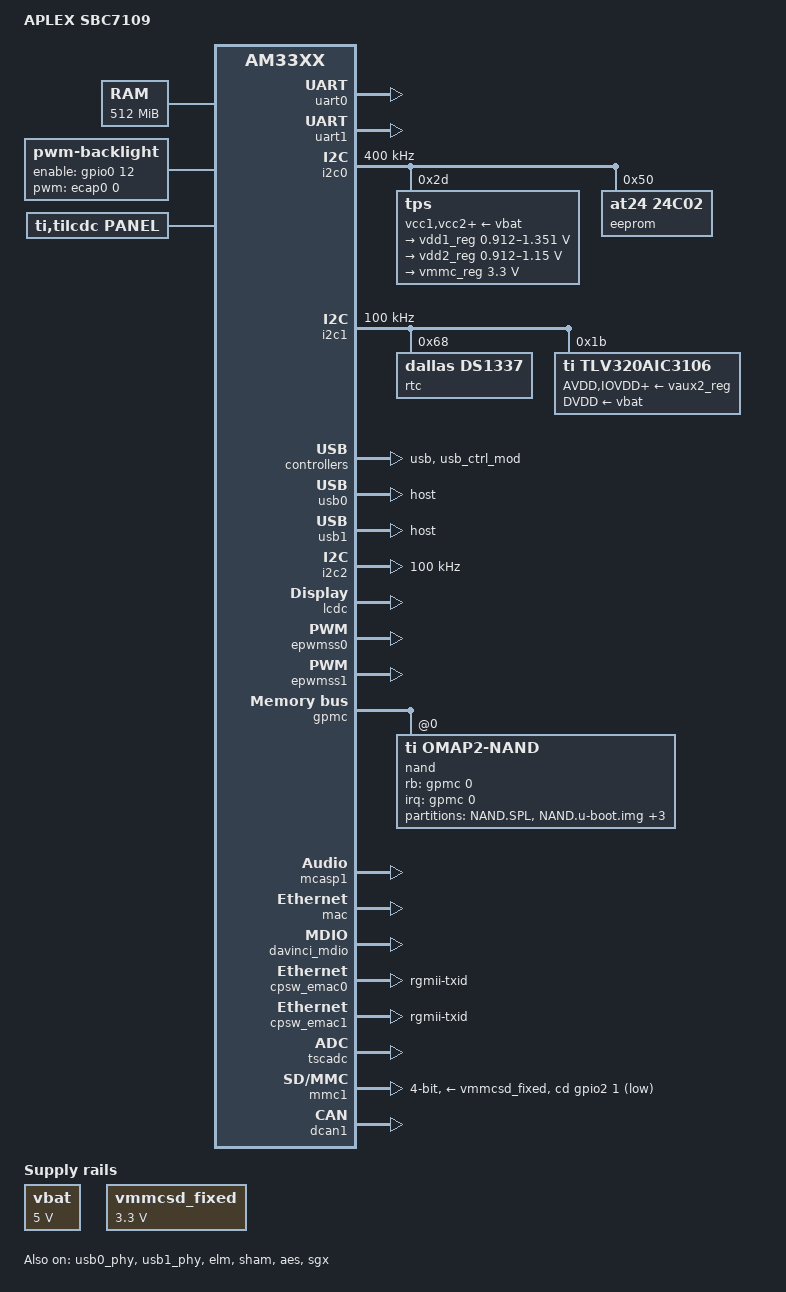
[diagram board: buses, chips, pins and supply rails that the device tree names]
/*
 * Copyright (C) 2012 Texas Instruments Incorporated - http://www.ti.com/
 * yocto
 * This program is free software; you can redistribute it and/or modify
 * it under the terms of the GNU General Public License version 2 as
 * published by the Free Software Foundation.
 */
/dts-v1/;

#include "am33xx.dtsi"
#include <dt-bindings/interrupt-controller/irq.h>

/ {
	model = "APLEX SBC7109";
	compatible = "ti,am335x-sbc_7109_455", "ti,am33xx";
	
	chosen {
		linux,stdout-path = &uart1;
	};

	cpus {
		cpu@0 {
			cpu0-supply = <&vdd1_reg>;
		};
	};

	memory {
		device_type = "memory";
		reg = <0x80000000 0x20000000>; /* 512 MB */
		//reg = <0x40000000 0x20000000>; /* 256 MB */
		//reg = <0x80000000 0x10000000>; /* 256 MB */
	};

	vbat: fixedregulator@0 {
		compatible = "regulator-fixed";
		regulator-name = "vbat";
		regulator-min-microvolt = <5000000>;
		regulator-max-microvolt = <5000000>;
		regulator-boot-on;
	};

	backlight {
		compatible = "pwm-backlight";
		pwms = <&ecap0 0 50000 0>;
		//brightness-levels = <0 51 53 56 62 75 101 152 255>;//leelin
		brightness-levels = <0 32 64 96 128 160 192 224 255>;
		default-brightness-level = <8>;
		enable-gpios=<&gpio0 12 GPIO_ACTIVE_HIGH>;//leelin
	};

	panel {
		compatible = "ti,tilcdc,panel";
		status = "okay";
		pinctrl-names = "default";
		pinctrl-0 = <&lcd_pins_s0>;
		panel-info {
			ac-bias           = <255>;
			ac-bias-intrpt    = <0>;
			dma-burst-sz      = <16>;
			bpp               = <16>;
			fdd               = <0x80>;
			sync-edge         = <0>;
			sync-ctrl         = <1>;
			raster-order      = <0>;
			fifo-th           = <0>;
            invert-pxl-clk    = <1>;
		};

		display-timings {
			native-mode = <&timing0>;
			timing0: 800x480 {
				clock-frequency = <33260000>;
				hactive = <800>;
				vactive = <480>;
				hfront-porch = <39>;
				hback-porch = <39>;
				hsync-len = <47>;
				vback-porch = <29>;
				vfront-porch = <13>;
				vsync-len = <2>;
				hsync-active = <1>;
				vsync-active = <1>;
			};
		};
	};

	sound {
		compatible = "simple-audio-card";
		simple-audio-card,name = "SBC7109";
		simple-audio-card,widgets =
			"Headphone", "Headphone Jack",
			"Line", "Line In",
			"Microphone", "Microphone Jack";
		simple-audio-card,routing =
			"Headphone Jack",	"HPLOUT",
			"Headphone Jack",	"HPROUT",
			"LINE1L",		"Line In",
			"LINE1R",		"Line In",
			"LINE2L",		"Microphone Jack";
		simple-audio-card,format = "dsp_b";
		simple-audio-card,bitclock-master = <&sound_master>;
		simple-audio-card,frame-master = <&sound_master>;
		simple-audio-card,bitclock-inversion;

		simple-audio-card,cpu {
			sound-dai = <&mcasp1>;
		};

		sound_master: simple-audio-card,codec {
			sound-dai = <&tlv320aic3106>;
			system-clock-frequency = <12000000>;
		};
	};
	vmmcsd_fixed: fixedregulator@0 {
		compatible = "regulator-fixed";
		regulator-name = "vmmcsd_fixed";
		regulator-min-microvolt = <3300000>;
		regulator-max-microvolt = <3300000>;
	};
};

&am33xx_pinmux {
	i2c0_pins: pinmux_i2c0_pins {
		pinctrl-single,pins = <
			0x188 (PIN_INPUT_PULLUP | MUX_MODE0)	/* i2c0_sda.i2c0_sda */
			0x18c (PIN_INPUT_PULLUP | MUX_MODE0)	/* i2c0_scl.i2c0_scl */
		>;
	};

	i2c1_pins: pinmux_i2c1_pins {
		pinctrl-single,pins = <
			0x158 (PIN_INPUT_PULLUP | MUX_MODE2)	/* spi0_d1.i2c1_sda */
			0x15c (PIN_INPUT_PULLUP | MUX_MODE2)	/* spi0_cs0.i2c1_scl */
		>;
	};

	i2c2_pins: pinmux_i2c2_pins {
		pinctrl-single,pins = <
			0x150 (PIN_INPUT_PULLUP | MUX_MODE2)	/* spi0_sclk.gpio0_2 */
			0x154 (PIN_INPUT_PULLUP | MUX_MODE2)	/* spi0_d0.gpio0_3 */
		>;
	};

	uart0_pins: pinmux_uart0_pins {
		pinctrl-single,pins = <
			0x170 (PIN_INPUT_PULLUP | MUX_MODE0)	/* uart0_rxd.uart0_rxd */
			0x174 (PIN_OUTPUT_PULLDOWN | MUX_MODE0)	/* uart0_txd.uart0_txd */
		>;
	};

	uart1_pins: pinmux_uart1_pins {
		pinctrl-single,pins = <
			0x180 (PIN_INPUT_PULLUP | MUX_MODE0)	/* uart1_rxd.uart1_rxd */
			0x184 (PIN_OUTPUT_PULLDOWN | MUX_MODE0)	/* uart1_txd.uart1_txd */
		>;
	};
#if 1
	nandflash_pins_s0: nandflash_pins_s0 {
		pinctrl-single,pins = <
			0x0 (PIN_INPUT_PULLUP | MUX_MODE0)	/* gpmc_ad0.gpmc_ad0 */
			0x4 (PIN_INPUT_PULLUP | MUX_MODE0)	/* gpmc_ad1.gpmc_ad1 */
			0x8 (PIN_INPUT_PULLUP | MUX_MODE0)	/* gpmc_ad2.gpmc_ad2 */
			0xc (PIN_INPUT_PULLUP | MUX_MODE0)	/* gpmc_ad3.gpmc_ad3 */
			0x10 (PIN_INPUT_PULLUP | MUX_MODE0)	/* gpmc_ad4.gpmc_ad4 */
			0x14 (PIN_INPUT_PULLUP | MUX_MODE0)	/* gpmc_ad5.gpmc_ad5 */
			0x18 (PIN_INPUT_PULLUP | MUX_MODE0)	/* gpmc_ad6.gpmc_ad6 */
			0x1c (PIN_INPUT_PULLUP | MUX_MODE0)	/* gpmc_ad7.gpmc_ad7 */
			0x70 (PIN_INPUT_PULLUP | MUX_MODE0)	/* gpmc_wait0.gpmc_wait0 */
			0x7c (PIN_OUTPUT | MUX_MODE0)		/* gpmc_csn0.gpmc_csn0  */
			0x90 (PIN_OUTPUT | MUX_MODE0)		/* gpmc_advn_ale.gpmc_advn_ale */
			0x94 (PIN_OUTPUT | MUX_MODE0)		/* gpmc_oen_ren.gpmc_oen_ren */
			0x98 (PIN_OUTPUT | MUX_MODE0)		/* gpmc_wen.gpmc_wen */
			0x9c (PIN_OUTPUT | MUX_MODE0)		/* gpmc_be0n_cle.gpmc_be0n_cle */
		>;
	};
#endif
#if 0
	emmc_pins: pinmux_emmc_pins {
		pinctrl-single,pins = <
			0x80 (PIN_INPUT_PULLUP | MUX_MODE2) /* gpmc_csn1.mmc1_clk */
			0x84 (PIN_INPUT_PULLUP | MUX_MODE2) /* gpmc_csn2.mmc1_cmd */
			0x00 (PIN_INPUT_PULLUP | MUX_MODE1) /* gpmc_ad0.mmc1_dat0 */
			0x04 (PIN_INPUT_PULLUP | MUX_MODE1) /* gpmc_ad1.mmc1_dat1 */
			0x08 (PIN_INPUT_PULLUP | MUX_MODE1) /* gpmc_ad2.mmc1_dat2 */
			0x0c (PIN_INPUT_PULLUP | MUX_MODE1) /* gpmc_ad3.mmc1_dat3 */
			0x10 (PIN_INPUT_PULLUP | MUX_MODE1) /* gpmc_ad4.mmc1_dat4 */
			0x14 (PIN_INPUT_PULLUP | MUX_MODE1) /* gpmc_ad5.mmc1_dat5 */
			0x18 (PIN_INPUT_PULLUP | MUX_MODE1) /* gpmc_ad6.mmc1_dat6 */
			0x1c (PIN_INPUT_PULLUP | MUX_MODE1) /* gpmc_ad7.mmc1_dat7 */
		>;
	};
#endif
	mmc1_pins: pinmux_mmc1_pins {
		pinctrl-single,pins = <
			0xf0 (PIN_INPUT_PULLUP | MUX_MODE0)		/* mmc0_dat3 */
			0xf4 (PIN_INPUT_PULLUP | MUX_MODE0)		/* mmc0_dat2 */
			0xf8 (PIN_INPUT_PULLUP | MUX_MODE0)		/* mmc0_dat1 */
			0xfc (PIN_INPUT_PULLUP | MUX_MODE0)		/* mmc0_dat0 */
			0x100 (PIN_INPUT_PULLUP | MUX_MODE0)	/* mmc0_clk */
			0x104 (PIN_INPUT_PULLUP | MUX_MODE0)	/* mmc0_cmd */
			0x8c (PIN_INPUT_PULLUP | MUX_MODE7)		/* gpmc_clk.gpio2[1] sd_cd */
			//0x1e8 (PIN_INPUT_PULLUP | MUX_MODE7)	/* emu1.gpio3[8] */
		>;
	};

	myrtc1_pins_default: myrtc1_pins_default {
		pinctrl-single,pins = <
			0x1f8 ( PIN_INPUT | MUX_MODE0 ) /* (B5) RTC_PORz.RTC_PORz */
			0x200 ( PIN_OUTPUT | MUX_MODE0 ) /* (C5) EXT_WAKEUP.EXT_WAKEUP */
			0x1fc ( PIN_INPUT | MUX_MODE0 ) /* (C6) PMIC_POWER_EN.PMIC_POWER_EN */
			0x204 ( PIN_INPUT | MUX_MODE0 ) /* (B4) ENZ_KALDO_1P8V.ENZ_KALDO_1P8V */
		>;
	};

	ecap0_pins: backlight_pins {
		pinctrl-single,pins = <
			0x164 0x0	/* eCAP0_in_PWM0_out.eCAP0_in_PWM0_out MODE0 */
			0x178 ( PIN_OUTPUT_PULLUP | MUX_MODE7 ) /* (D18) uart1_ctsn.gpio0[12] LVDS_BLKT_ON s*/
		>;
	};
#if 1
	mygpio0_pins_default: mygpio0_pins_default {
		pinctrl-single,pins = <
			0x17c ( PIN_OUTPUT | MUX_MODE7 ) /* (D17) uart1_rtsn.gpio0[13] */
			//0x28 ( PIN_INPUT | MUX_MODE7 ) /* (T11) gpmc_ad10.gpio0[26] */
			//0x2c ( PIN_OUTPUT_PULLUP | MUX_MODE7 ) /* (U12) gpmc_ad11.gpio0[27] */
			0x144 ( PIN_OUTPUT | MUX_MODE7 ) /* (H18) rmii1_refclk.gpio0[29] */
			0x20  (PIN_OUTPUT_PULLUP | MUX_MODE7)   /* (U10) gpmc_ad8.gpio0[22] COM0_MODE_0 */
			0x24  (PIN_OUTPUT_PULLDOWN | MUX_MODE7)   /* (T10) gpmc_ad9.gpio0[23] COM0_MODE_1 */
			0x1b0 (PIN_OUTPUT_PULLDOWN | MUX_MODE7 ) /* (A15) xdma_event_intr0.gpio0[19] COM0_TERM */
		>;
	};

	mygpio1_pins_default: mygpio1_pins_default {
		pinctrl-single,pins = <
			0x30 ( PIN_INPUT_PULLUP | MUX_MODE7 ) /* (T12) gpmc_ad12.gpio1[12] */
			0x34 ( PIN_INPUT_PULLUP | MUX_MODE7 ) /* (R12) gpmc_ad13.gpio1[13] */
			0x38 ( PIN_INPUT_PULLUP | MUX_MODE7 ) /* (V13) gpmc_ad14.gpio1[14] */
			0x3c ( PIN_INPUT_PULLUP | MUX_MODE7 ) /* (U13) gpmc_ad15.gpio1[15] */
		>;
	};

	mygpio2_pins_default: mygpio2_pins_default {
		pinctrl-single,pins = <
			0x88 ( PIN_INPUT | MUX_MODE7 ) /* (T13) gpmc_csn3.gpio2[0] */
			//0x8c ( PIN_INPUT | MUX_MODE7 ) /* (V12) gpmc_clk.gpio2[1] */
		>;
	};

	mygpio3_pins_default: mygpio3_pins_default {
		pinctrl-single,pins = <
			0x190 (PIN_OUTPUT_PULLDOWN | MUX_MODE7)	/* mcasp0_aclkx.gpio3_14 */
			0x194 (PIN_OUTPUT_PULLDOWN | MUX_MODE7)	/* mcasp0_fsx.gpio3_15 */
			0x198 (PIN_OUTPUT_PULLDOWN | MUX_MODE7)	/* mcasp0_axr0.gpio3_16 */
			0x19C (PIN_OUTPUT_PULLDOWN | MUX_MODE7)	/* mcasp0_ahclkr.gpio3_17 */
		>;
	};
#endif
	cpsw_default: cpsw_default {
		pinctrl-single,pins = <
			/* Slave 1 */
			0x108 ( PIN_INPUT_PULLDOWN | MUX_MODE0 ) /* (H16) gmii1_col.gmii1_col */
			0x10c ( PIN_INPUT_PULLDOWN | MUX_MODE0 ) /* (H17) gmii1_crs.gmii1_crs */
			0x110 ( PIN_INPUT_PULLDOWN | MUX_MODE0 ) /* (J15) gmii1_rxer.gmii1_rxer */
			0x114 (PIN_OUTPUT_PULLDOWN | MUX_MODE2)	/* mii1_txen.rgmii1_tctl */
			0x118 (PIN_INPUT_PULLDOWN | MUX_MODE2)	/* mii1_rxdv.rgmii1_rctl */
			0x11c (PIN_OUTPUT_PULLDOWN | MUX_MODE2)	/* mii1_txd3.rgmii1_td3 */
			0x120 (PIN_OUTPUT_PULLDOWN | MUX_MODE2)	/* mii1_txd2.rgmii1_td2 */
			0x124 (PIN_OUTPUT_PULLDOWN | MUX_MODE2)	/* mii1_txd1.rgmii1_td1 */
			0x128 (PIN_OUTPUT_PULLDOWN | MUX_MODE2)	/* mii1_txd0.rgmii1_td0 */
			0x12c (PIN_OUTPUT_PULLDOWN | MUX_MODE2)	/* mii1_txclk.rgmii1_tclk */
			0x130 (PIN_INPUT_PULLDOWN | MUX_MODE2)	/* mii1_rxclk.rgmii1_rclk */
			0x134 (PIN_INPUT_PULLDOWN | MUX_MODE2)	/* mii1_rxd3.rgmii1_rd3 */
			0x138 (PIN_INPUT_PULLDOWN | MUX_MODE2)	/* mii1_rxd2.rgmii1_rd2 */
			0x13c (PIN_INPUT_PULLDOWN | MUX_MODE2)	/* mii1_rxd1.rgmii1_rd1 */
			0x140 (PIN_INPUT_PULLDOWN | MUX_MODE2)	/* mii1_rxd0.rgmii1_rd0 */
			0x78 ( PIN_INPUT_PULLDOWN | MUX_MODE1 ) /* (U18) gpmc_be1n.gmii2_col */
			0x74 ( PIN_INPUT_PULLDOWN | MUX_MODE1 ) /* (U17) gpmc_wpn.gmii2_rxer */
			0x40 ( PIN_OUTPUT_PULLDOWN | MUX_MODE2 ) /* (R13) gpmc_a0.gmii2_txen */
			0x44 ( PIN_INPUT_PULLDOWN | MUX_MODE2 ) /* (V14) gpmc_a1.gmii2_rxdv */
			0x58 ( PIN_INPUT_PULLDOWN | MUX_MODE2 ) /* (U15) gpmc_a6.gmii2_txclk */
			0x5c ( PIN_INPUT_PULLDOWN | MUX_MODE2 ) /* (T15) gpmc_a7.gmii2_rxclk */
			0x54 ( PIN_OUTPUT_PULLDOWN | MUX_MODE2 ) /* (V15) gpmc_a5.gmii2_txd0 */
			0x50 ( PIN_OUTPUT_PULLDOWN | MUX_MODE2 ) /* (R14) gpmc_a4.gmii2_txd1 */
			0x4c ( PIN_OUTPUT_PULLDOWN | MUX_MODE2 ) /* (T14) gpmc_a3.gmii2_txd2 */
			0x48 ( PIN_OUTPUT_PULLDOWN | MUX_MODE2 ) /* (U14) gpmc_a2.gmii2_txd3 */
			0x6c ( PIN_INPUT_PULLDOWN | MUX_MODE2 ) /* (V17) gpmc_a11.gmii2_rxd0 */
			0x68 ( PIN_INPUT_PULLDOWN | MUX_MODE2 ) /* (T16) gpmc_a10.gmii2_rxd1 */
			0x64 ( PIN_INPUT_PULLDOWN | MUX_MODE2 ) /* (U16) gpmc_a9.gmii2_rxd2 */
			0x60 ( PIN_INPUT_PULLDOWN | MUX_MODE2 ) /* (V16) gpmc_a8.gmii2_rxd3 */
		>;
	};

	cpsw_sleep: cpsw_sleep {
		pinctrl-single,pins = <
			/* Slave 1 reset value */
			0x114 (PIN_INPUT_PULLDOWN | MUX_MODE7)
			0x118 (PIN_INPUT_PULLDOWN | MUX_MODE7)
			0x11c (PIN_INPUT_PULLDOWN | MUX_MODE7)
			0x120 (PIN_INPUT_PULLDOWN | MUX_MODE7)
			0x124 (PIN_INPUT_PULLDOWN | MUX_MODE7)
			0x128 (PIN_INPUT_PULLDOWN | MUX_MODE7)
			0x12c (PIN_INPUT_PULLDOWN | MUX_MODE7)
			0x130 (PIN_INPUT_PULLDOWN | MUX_MODE7)
			0x134 (PIN_INPUT_PULLDOWN | MUX_MODE7)
			0x138 (PIN_INPUT_PULLDOWN | MUX_MODE7)
			0x13c (PIN_INPUT_PULLDOWN | MUX_MODE7)
			0x140 (PIN_INPUT_PULLDOWN | MUX_MODE7)
			0x78 ( PIN_INPUT_PULLDOWN | MUX_MODE7 ) /* (U18) gpmc_be1n.gmii2_col */
			0x74 ( PIN_INPUT_PULLDOWN | MUX_MODE7 ) /* (U17) gpmc_wpn.gmii2_rxer */
			0x40 ( PIN_INPUT_PULLDOWN | MUX_MODE7 ) /* (R13) gpmc_a0.gmii2_txen */
			0x44 ( PIN_INPUT_PULLDOWN | MUX_MODE7 ) /* (V14) gpmc_a1.gmii2_rxdv */
			0x58 ( PIN_INPUT_PULLDOWN | MUX_MODE7 ) /* (U15) gpmc_a6.gmii2_txclk */
			0x5c ( PIN_INPUT_PULLDOWN | MUX_MODE7 ) /* (T15) gpmc_a7.gmii2_rxclk */
			0x54 ( PIN_INPUT_PULLDOWN | MUX_MODE7 ) /* (V15) gpmc_a5.gmii2_txd0 */
			0x50 ( PIN_INPUT_PULLDOWN | MUX_MODE7 ) /* (R14) gpmc_a4.gmii2_txd1 */
			0x4c ( PIN_INPUT_PULLDOWN | MUX_MODE7 ) /* (T14) gpmc_a3.gmii2_txd2 */
			0x48 ( PIN_INPUT_PULLDOWN | MUX_MODE7 ) /* (U14) gpmc_a2.gmii2_txd3 */
			0x6c ( PIN_INPUT_PULLDOWN | MUX_MODE7 ) /* (V17) gpmc_a11.gmii2_rxd0 */
			0x68 ( PIN_INPUT_PULLDOWN | MUX_MODE7 ) /* (T16) gpmc_a10.gmii2_rxd1 */
			0x64 ( PIN_INPUT_PULLDOWN | MUX_MODE7 ) /* (U16) gpmc_a9.gmii2_rxd2 */
			0x60 ( PIN_INPUT_PULLDOWN | MUX_MODE7 ) /* (V16) gpmc_a8.gmii2_rxd3 */
		>;
	};

	davinci_mdio_default: davinci_mdio_default {
		pinctrl-single,pins = <
			/* MDIO */
			0x148 (PIN_INPUT_PULLUP | SLEWCTRL_FAST | MUX_MODE0)	/* mdio_data.mdio_data */
			0x14c (PIN_OUTPUT_PULLUP | MUX_MODE0)			/* mdio_clk.mdio_clk */
		>;
	};

	davinci_mdio_sleep: davinci_mdio_sleep {
		pinctrl-single,pins = <
			/* MDIO reset value */
			0x148 (PIN_INPUT_PULLDOWN | MUX_MODE7)
			0x14c (PIN_INPUT_PULLDOWN | MUX_MODE7)
		>;
	};

	mygpmc2_pins_default: mygpmc2_pins_default {
		pinctrl-single,pins = <
			0x7c ( PIN_OUTPUT | MUX_MODE0 ) /* (V6) gpmc_csn0.gpmc_csn0 */
		>;
	};

	am335x_io_buzz_pins_default: am335x_io_buzz_pins_default {
		pinctrl-single,pins = <
			0x160 ( PIN_INPUT | MUX_MODE2 ) /* (C15) spi0_cs1.eCAP1_in_PWM1_out */
		>;
	};
	
	myglue1_pins_default: myglue1_pins_default {
		pinctrl-single,pins = <
			0x1b8 ( PIN_OUTPUT_PULLUP | MUX_MODE0 ) /* (A10) nRESETIN_OUT.nRESETIN_OUT */
		>;
	};
	
	lcd_pins_s0: lcd_pins_s0 {
		pinctrl-single,pins = <
			0xe0 ( PIN_OUTPUT | MUX_MODE0 ) /* (U5) lcd_vsync.lcd_vsync */
			0xe4 ( PIN_OUTPUT | MUX_MODE0 ) /* (R5) lcd_hsync.lcd_hsync */
			0xe8 ( PIN_OUTPUT | MUX_MODE0 ) /* (V5) lcd_pclk.lcd_pclk */
			0xec ( PIN_OUTPUT | MUX_MODE0 ) /* (R6) lcd_ac_bias_en.lcd_ac_bias_en */
			0xa0 ( PIN_OUTPUT | MUX_MODE0 ) /* (R1) lcd_data0.lcd_data0 */
			0xa4 ( PIN_OUTPUT | MUX_MODE0 ) /* (R2) lcd_data1.lcd_data1 */
			0xa8 ( PIN_OUTPUT | MUX_MODE0 ) /* (R3) lcd_data2.lcd_data2 */
			0xac ( PIN_OUTPUT | MUX_MODE0 ) /* (R4) lcd_data3.lcd_data3 */
			0xb0 ( PIN_OUTPUT | MUX_MODE0 ) /* (T1) lcd_data4.lcd_data4 */
			0xb4 ( PIN_OUTPUT | MUX_MODE0 ) /* (T2) lcd_data5.lcd_data5 */
			0xb8 ( PIN_OUTPUT | MUX_MODE0 ) /* (T3) lcd_data6.lcd_data6 */
			0xbc ( PIN_OUTPUT | MUX_MODE0 ) /* (T4) lcd_data7.lcd_data7 */
			0xc0 ( PIN_OUTPUT | MUX_MODE0 ) /* (U1) lcd_data8.lcd_data8 */
			0xc4 ( PIN_OUTPUT | MUX_MODE0 ) /* (U2) lcd_data9.lcd_data9 */
			0xc8 ( PIN_OUTPUT | MUX_MODE0 ) /* (U3) lcd_data10.lcd_data10 */
			0xcc ( PIN_OUTPUT | MUX_MODE0 ) /* (U4) lcd_data11.lcd_data11 */
			0xd0 ( PIN_OUTPUT | MUX_MODE0 ) /* (V2) lcd_data12.lcd_data12 */
			0xd4 ( PIN_OUTPUT | MUX_MODE0 ) /* (V3) lcd_data13.lcd_data13 */
			0xd8 ( PIN_OUTPUT | MUX_MODE0 ) /* (V4) lcd_data14.lcd_data14 */
			0xdc ( PIN_OUTPUT | MUX_MODE0 ) /* (T5) lcd_data15.lcd_data15 */
			0x1b4 (PIN_OUTPUT_PULLUP | MUX_MODE7 ) /* xdma_event_intr1.gpio0_20   lvds_logic_pwr_en    */
		>;
	};

	mcasp1_pins: mcasp1_pins {
		pinctrl-single,pins = <
//			0x1ac ( PIN_INPUT | MUX_MODE2 ) /* (A14) mcasp0_ahclkx.mcasp0_axr3 */ //DOUT
//			0x1a0 ( PIN_INPUT | MUX_MODE0 ) /* (B12) mcasp0_aclkr.mcasp0_aclkr */ //BCLK
//			0x1a4 ( PIN_INPUT | MUX_MODE0 ) /* (C13) mcasp0_fsr.mcasp0_fsr */ //WCLK
//			0x1a8 ( PIN_INPUT | MUX_MODE0 ) /* (D13) mcasp0_axr1.mcasp0_axr1 */ //DIN
			0x1ac ( PIN_INPUT_PULLDOWN | MUX_MODE3 ) /* (A14) mcasp0_ahclkx.mcasp1_axr1 */ //DOUT
			0x1a0 ( PIN_INPUT_PULLDOWN | MUX_MODE3 ) /* (B12) mcasp0_aclkr.mcasp1_aclkx */ //BCLK
			0x1a4 ( PIN_INPUT_PULLDOWN | MUX_MODE3 ) /* (C13) mcasp0_fsr.mcasp1_fsx */ //WCLK
			0x1a8 ( PIN_OUTPUT_PULLDOWN | MUX_MODE3 ) /* (D13) mcasp0_axr1.mcasp1_axr0 */ //DIN
		>;
	};

	mcasp1_pins_sleep: mcasp1_pins_sleep {
		pinctrl-single,pins = <
			0x1ac (PIN_INPUT_PULLDOWN | MUX_MODE7)
			0x1a0 (PIN_INPUT_PULLDOWN | MUX_MODE7)
			0x1a4 (PIN_INPUT_PULLDOWN | MUX_MODE7)
			0x1a8 (PIN_INPUT_PULLDOWN | MUX_MODE7)
		>;
	};

	dcan1_pins_default: dcan1_pins_default {
		pinctrl-single,pins = <
			0x168 (PIN_OUTPUT | MUX_MODE2) /* uart0_ctsn.d_can1_tx */
			0x16c (PIN_INPUT_PULLDOWN | MUX_MODE2) /* uart0_rtsn.d_can1_rx */
		>;
	};
};

&uart0 {
	pinctrl-names = "default";
	pinctrl-0 = <&uart0_pins>;

	status = "okay";
};

&uart1 {
	pinctrl-names = "default";
	pinctrl-0 = <&uart1_pins>;

	status = "okay";
};

&i2c0 {
	pinctrl-names = "default";
	pinctrl-0 = <&i2c0_pins>;

	status = "okay";
	clock-frequency = <400000>;

	tps: tps@2d {
		reg = <0x2d>;
	};

    eeprom@50 {
        compatible = "at24,24c02";
        reg = <0x50>;
    };
};

&i2c1 {
    pinctrl-names = "default";
    pinctrl-0 = <&i2c1_pins>;

    status = "okay";
    clock-frequency = <100000>;

    rtc@68 {
        compatible = "dallas,ds1337";
        reg = <0x68>;
    };
};

&usb {
	status = "okay";
};

&usb_ctrl_mod {
	status = "okay";
};

&usb0_phy {
	status = "okay";
};

&usb1_phy {
	status = "okay";
};

&usb0 {
	status = "okay";
	dr_mode = "host";
};

&usb1 {
	status = "okay";
	dr_mode = "host";
};

&cppi41dma  {
	status = "okay";
};

&i2c1 {
	pinctrl-names = "default";
	pinctrl-0 = <&i2c1_pins>;

	status = "okay";
	clock-frequency = <100000>;

	tlv320aic3106: tlv320aic3106@1b {
		#sound-dai-cells = <0>;
		compatible = "ti,tlv320aic3106";
		reg = <0x1b>;
		status = "okay";

		/* Regulators */
		AVDD-supply = <&vaux2_reg>;
		IOVDD-supply = <&vaux2_reg>;
		DRVDD-supply = <&vaux2_reg>;
		DVDD-supply = <&vbat>;
	};
};

&i2c2 {
	pinctrl-names = "default";
	pinctrl-0 = <&i2c2_pins>;

	status = "okay";
	clock-frequency = <100000>;
};

&lcdc {
	status = "okay";
};

&elm {
	status = "okay";
};

&epwmss0 {
	status = "okay";

	ecap0: ecap@48300100 {
		status = "okay";
		pinctrl-names = "default";
		pinctrl-0 = <&ecap0_pins>;
	};
};

&epwmss1 {
	status = "okay";

	ecap1: ecap@48302100 {
		status = "okay";
		pinctrl-names = "default";
		pinctrl-0 = <&am335x_io_buzz_pins_default>;
	};
};

#if 1
&gpmc {
	status = "okay";
	pinctrl-names = "default";
	pinctrl-0 = <&nandflash_pins_s0>;
	ranges = <0 0 0x08000000 0x1000000>;	// CS0: 16MB for NAND
	nand@0,0 {
		compatible = "ti,omap2-nand";
		reg = <0 0 4>;                  // CS0, offset 0, IO size 4
		interrupt-parent = <&gpmc>;
		interrupts = <0 IRQ_TYPE_NONE>, // fifoevent
			     <1 IRQ_TYPE_NONE>;	    // termcount
		rb-gpios = <&gpmc 0 GPIO_ACTIVE_HIGH>; // gpmc_wait0
		ti,nand-ecc-opt = "bch8";
		ti,elm-id = <&elm>;
		nand-bus-width = <8>;
		gpmc,device-width = <1>;
		gpmc,sync-clk-ps = <0>;
		gpmc,cs-on-ns = <0>;
		gpmc,cs-rd-off-ns = <44>;
		gpmc,cs-wr-off-ns = <44>;
		gpmc,adv-on-ns = <6>;
		gpmc,adv-rd-off-ns = <34>;
		gpmc,adv-wr-off-ns = <44>;
		gpmc,we-on-ns = <0>;
		gpmc,we-off-ns = <40>;
		gpmc,oe-on-ns = <0>;
		gpmc,oe-off-ns = <54>;
		gpmc,access-ns = <64>;
		gpmc,rd-cycle-ns = <82>;
		gpmc,wr-cycle-ns = <82>;
		gpmc,bus-turnaround-ns = <0>;
		gpmc,cycle2cycle-delay-ns = <0>;
		gpmc,clk-activation-ns = <0>;
		gpmc,wr-access-ns = <40>;
		gpmc,wr-data-mux-bus-ns = <0>;
		// MTD partition table
		// All SPL-* partitions are sized to minimal length
		// which can be independently programmable. For
		// NAND flash this is equal to size of erase-block
		#address-cells = <1>;
		#size-cells = <1>;
		partition@0 {
			label = "NAND.SPL";
			reg = <0x00000000 0x000080000>;
		};
		partition@1 {
			label = "NAND.u-boot.img";
			reg = <0x00080000 0x00200000>;
		};
		partition@2 {
			label = "NAND.kernel.img";
			reg = <0x00280000 0x00480000>;
		};
		partition@3 {
			label = "NAND.kernel.dts";
			reg = <0x00700000 0x00080000>;
		};
		partition@4 {
			label = "NAND.rootfs.ubi";
#ifdef NAND_256MB
			reg = <0x00780000 0x0F880000>;		//248MB
#else
			reg = <0x00780000 0x1F880000>;		//504MB
#endif
		};
	};
};
#endif

#include "tps65910.dtsi"

&mcasp1 {
	#sound-dai-cells = <0>;
	pinctrl-names = "default", "sleep";
	pinctrl-0 = <&mcasp1_pins>;
	pinctrl-1 = <&mcasp1_pins_sleep>;

	status = "okay";

	op-mode = <0>;          /* MCASP_IIS_MODE */
	tdm-slots = <2>;
	/* 4 serializers */
	//serial-dir = <  /* 0: INACTIVE, 1: TX, 2: RX */
	//	0 1 0 2
	//>;
	serial-dir = <  /* 0: INACTIVE, 1: TX, 2: RX */
		1 2 0 0
	>;
	tx-num-evt = <32>;
	rx-num-evt = <32>;
};

&tps {
	vcc1-supply = <&vbat>;
	vcc2-supply = <&vbat>;
	vcc3-supply = <&vbat>;
	vcc4-supply = <&vbat>;
	vcc5-supply = <&vbat>;
	vcc6-supply = <&vbat>;
	vcc7-supply = <&vbat>;
	vccio-supply = <&vbat>;

	regulators {
		vrtc_reg: regulator@0 {
			regulator-always-on;
		};

		vio_reg: regulator@1 {
			regulator-always-on;
		};

		vdd1_reg: regulator@2 {
			/* VDD_MPU voltage limits 0.95V - 1.26V with +/-4% tolerance */
			regulator-name = "vdd_mpu";
			regulator-min-microvolt = <912500>;
			regulator-max-microvolt = <1351500>;
			regulator-boot-on;
			regulator-always-on;
		};

		vdd2_reg: regulator@3 {
			/* VDD_CORE voltage limits 0.95V - 1.1V with +/-4% tolerance */
			regulator-name = "vdd_core";
			regulator-min-microvolt = <912500>;
			regulator-max-microvolt = <1150000>;
			regulator-boot-on;
			regulator-always-on;
		};

		vdd3_reg: regulator@4 {
			regulator-always-on;
		};

		vdig1_reg: regulator@5 {
			regulator-always-on;
		};

		vdig2_reg: regulator@6 {
			regulator-always-on;
		};

		vpll_reg: regulator@7 {
			regulator-always-on;
		};

		vdac_reg: regulator@8 {
			regulator-always-on;
		};

		vaux1_reg: regulator@9 {
			regulator-always-on;
		};

		vaux2_reg: regulator@10 {
			regulator-always-on;
		};

		vaux33_reg: regulator@11 {
			regulator-always-on;
		};

		vmmc_reg: regulator@12 {
			regulator-min-microvolt = <3300000>;
			regulator-max-microvolt = <3300000>;
			regulator-always-on;
		};
	};
};

&mac {
	pinctrl-names = "default", "sleep";
	pinctrl-0 = <&cpsw_default>;
	pinctrl-1 = <&cpsw_sleep>;
	dual_emac = <1>;
	status = "okay";
};

&davinci_mdio {
	pinctrl-names = "default", "sleep";
	pinctrl-0 = <&davinci_mdio_default>;
	pinctrl-1 = <&davinci_mdio_sleep>;
	status = "okay";
};

&cpsw_emac0 {
	phy_id = <&davinci_mdio>, <0>;
	phy-mode = "rgmii-txid";
	dual_emac_res_vlan = <1>;
};

&cpsw_emac1 {
	phy_id = <&davinci_mdio>, <1>;
	phy-mode = "rgmii-txid";
	dual_emac_res_vlan = <2>;
};
#if 1
&tscadc {
	status = "okay";
	tsc {
		ti,wires = <5>;
		ti,x-plate-resistance = <200>;
		ti,coordinate-readouts = <5>;
		ti,wire-config = <0x00 0x11 0x22 0x33>;
		ti,charge-delay = <0x400>;
	};

	adc {
		ti,adc-channels = <6 7>;
	};
};
#endif
&mmc1 {
	vmmc-supply = <&vmmcsd_fixed>;
	status = "okay";
	bus-width = <0x4>;
	pinctrl-names = "default";
	pinctrl-0 = <&mmc1_pins>;
	cd-gpios = <&gpio2 1 GPIO_ACTIVE_LOW>;
	//max-frequency = <25000000>; //leelin
	disable-wp;
	//wp-gpios = <&gpio3 8 GPIO_ACTIVE_LOW>;
};
#if 0
&mmc2 {
	vmmc-supply = <&vmmcsd_fixed>;
	pinctrl-names = "default";
	pinctrl-0 = <&emmc_pins>;
	bus-width = <8>;
	status = "disabled";
};
#endif
&sham {
	status = "okay";
};

&aes {
	status = "okay";
};

&dcan1 {
	status = "okay";	/* Enable only if Profile 1 is selected */
	pinctrl-names = "default";
	pinctrl-0 = <&dcan1_pins_default>;
};

&wkup_m3_ipc {
	ti,scale-data-fw = "am335x-evm-scale-data.bin";
};

&rtc {
	system-power-controller;
};

&sgx {
	status = "okay";
};

&gpio0 {
    pinctrl-names = "default";
    pinctrl-0 = <&mygpio0_pins_default>;

    status = "okay";
};
&gpio1 {
    pinctrl-names = "default";
    pinctrl-0 = <&mygpio1_pins_default>;

    status = "okay";
};
&gpio2 {
    pinctrl-names = "default";
    pinctrl-0 = <&mygpio2_pins_default>;

    status = "okay";
};
&gpio3 {
    pinctrl-names = "default";
    pinctrl-0 = <&mygpio3_pins_default>;

    status = "okay";
};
